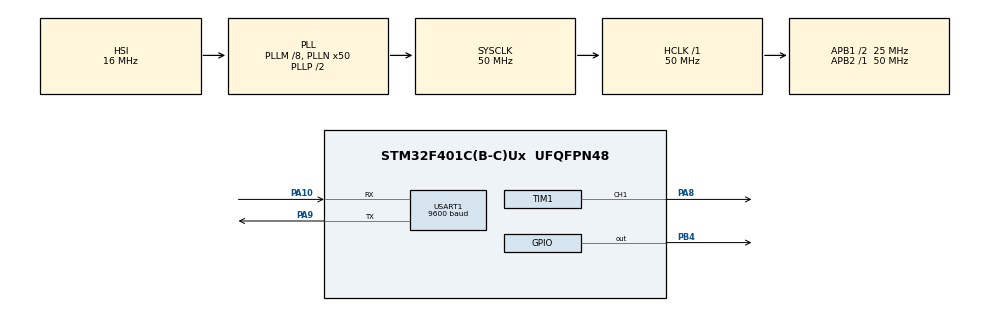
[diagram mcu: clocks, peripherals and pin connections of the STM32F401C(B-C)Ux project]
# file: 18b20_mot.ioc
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Mcu.Family=STM32F4
Mcu.Name=STM32F401C(B-C)Ux
Mcu.Package=UFQFPN48
NVIC.PriorityGroup=NVIC_PRIORITYGROUP_4
PA10.Mode=Asynchronous
PA10.Signal=USART1_RX
PA8.Signal=S_TIM1_CH1
PA9.Mode=Asynchronous
PA9.Signal=USART1_TX
PB4.GPIO_PuPd=GPIO_PULLUP
PB4.Signal=GPIO_Output
ProjectManager.HeapSize=0x200
ProjectManager.StackSize=0x400
ProjectManager.TargetToolchain=STM32CubeIDE
RCC.48MHZClocksFreq_Value=25000000
RCC.AHBFreq_Value=50000000
RCC.APB1CLKDivider=RCC_HCLK_DIV2
RCC.APB1Freq_Value=25000000
RCC.APB1TimFreq_Value=50000000
RCC.APB2Freq_Value=50000000
RCC.APB2TimFreq_Value=50000000
RCC.CortexFreq_Value=50000000
RCC.HCLKFreq_Value=50000000
RCC.HSE_VALUE=25000000
RCC.HSI_VALUE=16000000
RCC.LSE_VALUE=32768
RCC.PLLM=8
RCC.PLLN=50
RCC.SYSCLKFreq_VALUE=50000000
RCC.SYSCLKSource=RCC_SYSCLKSOURCE_PLLCLK
RCC.VCOOutputFreq_Value=100000000
SH.S_TIM1_CH1.0=TIM1_CH1,PWM Generation1 CH1
TIM1.Channel-PWM\ Generation1\ CH1=TIM_CHANNEL_1
TIM1.Period=100-1
TIM1.Prescaler=50-1
TIM11.Period=0xffff-1
TIM11.Prescaler=50-1
USART1.BaudRate=9600
USART1.VirtualMode=VM_ASYNC
VP_TIM11_VS_ClockSourceINT.Mode=Enable_Timer
VP_TIM1_VS_ClockSourceINT.Mode=Internal
board=custom

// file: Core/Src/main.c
/* USER CODE BEGIN Header */
/**
 ******************************************************************************
 * @file           : main.c
 * @brief          : Main program body
 ******************************************************************************
 * @attention
 *
 * Copyright (c) 2024 STMicroelectronics.
 * All rights reserved.
 *
 * This software is licensed under terms that can be found in the LICENSE file
 * in the root directory of this software component.
 * If no LICENSE file comes with this software, it is provided AS-IS.
 *
 ******************************************************************************
 */
/* USER CODE END Header */
#include "main.h"

/* USER CODE BEGIN Includes */
#include <stdio.h>
#include <stdint.h>
#include <string.h>

#include "18b20.h"
/* USER CODE END Includes */

TIM_HandleTypeDef htim1;
TIM_HandleTypeDef htim11;

UART_HandleTypeDef huart1;

void SystemClock_Config(void);
static void MX_GPIO_Init(void);
static void MX_USART1_UART_Init(void);
static void MX_TIM11_Init(void);
static void MX_TIM1_Init(void);

/* USER CODE BEGIN 0 */

// DEBUG UART HELPERS
void send_string(char *s) {
	HAL_UART_Transmit(&huart1, (uint8_t*) s, strlen(s), 1000);
}

void send_uint8(uint8_t num) {
	char buffer[4];
	sprintf(buffer, "%u", num);
	send_string(buffer);
}

void send_int(int num) {
	char buffer[12];
	sprintf(buffer, "%d", num);
	send_string(buffer);
}

void send_float(float num) {
	int whole_part = (int) num; // Część całkowita
	int fractional_part = (int) ((num - whole_part) * 100); // Część ułamkowa do 2 miejsc po przecinku

	if (fractional_part < 0) {
		fractional_part = -fractional_part; // Dla ujemnych wartości
	}

	char buffer[20];
	sprintf(buffer, "%d.%02d", whole_part, fractional_part); // Formatowanie na część całkowitą i ułamkową
	send_string(buffer); // Wywołanie send_string
}

void calcAndSetDutyCycleFromTemp(float temp) {
	TIM1->CCR1 = (20.0*temp) - 400.0;
}

/* USER CODE END 0 */

int main(void)
{

  /* MCU Configuration--------------------------------------------------------*/

  /* Reset of all peripherals, Initializes the Flash interface and the Systick. */
  HAL_Init();

  /* Configure the system clock */
  SystemClock_Config();

  /* Initialize all configured peripherals */
  MX_GPIO_Init();
  MX_USART1_UART_Init();
  MX_TIM11_Init();
  MX_TIM1_Init();
  /* USER CODE BEGIN 2 */

	send_string("hejka!\r\n");

	HAL_TIM_PWM_Start(&htim1, TIM_CHANNEL_1);
	TIM1->CCR1 = 20;
	HAL_GPIO_WritePin(GPIOA, GPIO_PIN_4, 0);

	if (ds18b20_init(&htim11) != HAL_OK) {
		Error_Handler();
	}

	uint8_t ds1[DS18B20_ROM_CODE_SIZE];

	if (ds18b20_read_address(ds1) != HAL_OK) {
		Error_Handler();
	}

  /* USER CODE END 2 */

  /* Infinite loop */
  /* USER CODE BEGIN WHILE */
	while (1) {
		ds18b20_start_measure(NULL);

		HAL_Delay(100);

		float temp = ds18b20_get_temp(NULL);
		if (temp >= 80.0f)
			send_string("Sensor error...\r\n");
		else {
			calcAndSetDutyCycleFromTemp(temp);
			send_string("Temp: ");
			send_float(temp);
			send_string("\r\n");
			send_string("Duty cyle: ");
			send_float(TIM1->CCR1);
			send_string("\r\n");
		}

    /* USER CODE END WHILE */

	}
}

void SystemClock_Config(void)
{
  RCC_OscInitTypeDef RCC_OscInitStruct = {0};
  RCC_ClkInitTypeDef RCC_ClkInitStruct = {0};

  /** Configure the main internal regulator output voltage
  */
  __HAL_RCC_PWR_CLK_ENABLE();
  __HAL_PWR_VOLTAGESCALING_CONFIG(PWR_REGULATOR_VOLTAGE_SCALE2);

  /** Initializes the RCC Oscillators according to the specified parameters
  * in the RCC_OscInitTypeDef structure.
  */
  RCC_OscInitStruct.OscillatorType = RCC_OSCILLATORTYPE_HSI;
  RCC_OscInitStruct.HSIState = RCC_HSI_ON;
  RCC_OscInitStruct.HSICalibrationValue = RCC_HSICALIBRATION_DEFAULT;
  RCC_OscInitStruct.PLL.PLLState = RCC_PLL_ON;
  RCC_OscInitStruct.PLL.PLLSource = RCC_PLLSOURCE_HSI;
  RCC_OscInitStruct.PLL.PLLM = 8;
  RCC_OscInitStruct.PLL.PLLN = 50;
  RCC_OscInitStruct.PLL.PLLP = RCC_PLLP_DIV2;
  RCC_OscInitStruct.PLL.PLLQ = 4;
  if (HAL_RCC_OscConfig(&RCC_OscInitStruct) != HAL_OK)
  {
    Error_Handler();
  }

  /** Initializes the CPU, AHB and APB buses clocks
  */
  RCC_ClkInitStruct.ClockType = RCC_CLOCKTYPE_HCLK|RCC_CLOCKTYPE_SYSCLK
                              |RCC_CLOCKTYPE_PCLK1|RCC_CLOCKTYPE_PCLK2;
  RCC_ClkInitStruct.SYSCLKSource = RCC_SYSCLKSOURCE_PLLCLK;
  RCC_ClkInitStruct.AHBCLKDivider = RCC_SYSCLK_DIV1;
  RCC_ClkInitStruct.APB1CLKDivider = RCC_HCLK_DIV2;
  RCC_ClkInitStruct.APB2CLKDivider = RCC_HCLK_DIV1;

  if (HAL_RCC_ClockConfig(&RCC_ClkInitStruct, FLASH_LATENCY_1) != HAL_OK)
  {
    Error_Handler();
  }
}

static void MX_TIM1_Init(void)
{

  TIM_ClockConfigTypeDef sClockSourceConfig = {0};
  TIM_MasterConfigTypeDef sMasterConfig = {0};
  TIM_OC_InitTypeDef sConfigOC = {0};
  TIM_BreakDeadTimeConfigTypeDef sBreakDeadTimeConfig = {0};

  htim1.Instance = TIM1;
  htim1.Init.Prescaler = 50-1;
  htim1.Init.CounterMode = TIM_COUNTERMODE_UP;
  htim1.Init.Period = 100-1;
  htim1.Init.ClockDivision = TIM_CLOCKDIVISION_DIV1;
  htim1.Init.RepetitionCounter = 0;
  htim1.Init.AutoReloadPreload = TIM_AUTORELOAD_PRELOAD_DISABLE;
  if (HAL_TIM_Base_Init(&htim1) != HAL_OK)
  {
    Error_Handler();
  }
  sClockSourceConfig.ClockSource = TIM_CLOCKSOURCE_INTERNAL;
  if (HAL_TIM_ConfigClockSource(&htim1, &sClockSourceConfig) != HAL_OK)
  {
    Error_Handler();
  }
  if (HAL_TIM_PWM_Init(&htim1) != HAL_OK)
  {
    Error_Handler();
  }
  sMasterConfig.MasterOutputTrigger = TIM_TRGO_RESET;
  sMasterConfig.MasterSlaveMode = TIM_MASTERSLAVEMODE_DISABLE;
  if (HAL_TIMEx_MasterConfigSynchronization(&htim1, &sMasterConfig) != HAL_OK)
  {
    Error_Handler();
  }
  sConfigOC.OCMode = TIM_OCMODE_PWM1;
  sConfigOC.Pulse = 0;
  sConfigOC.OCPolarity = TIM_OCPOLARITY_HIGH;
  sConfigOC.OCNPolarity = TIM_OCNPOLARITY_HIGH;
  sConfigOC.OCFastMode = TIM_OCFAST_DISABLE;
  sConfigOC.OCIdleState = TIM_OCIDLESTATE_RESET;
  sConfigOC.OCNIdleState = TIM_OCNIDLESTATE_RESET;
  if (HAL_TIM_PWM_ConfigChannel(&htim1, &sConfigOC, TIM_CHANNEL_1) != HAL_OK)
  {
    Error_Handler();
  }
  sBreakDeadTimeConfig.OffStateRunMode = TIM_OSSR_DISABLE;
  sBreakDeadTimeConfig.OffStateIDLEMode = TIM_OSSI_DISABLE;
  sBreakDeadTimeConfig.LockLevel = TIM_LOCKLEVEL_OFF;
  sBreakDeadTimeConfig.DeadTime = 0;
  sBreakDeadTimeConfig.BreakState = TIM_BREAK_DISABLE;
  sBreakDeadTimeConfig.BreakPolarity = TIM_BREAKPOLARITY_HIGH;
  sBreakDeadTimeConfig.AutomaticOutput = TIM_AUTOMATICOUTPUT_DISABLE;
  if (HAL_TIMEx_ConfigBreakDeadTime(&htim1, &sBreakDeadTimeConfig) != HAL_OK)
  {
    Error_Handler();
  }
  HAL_TIM_MspPostInit(&htim1);

}

static void MX_TIM11_Init(void)
{

  htim11.Instance = TIM11;
  htim11.Init.Prescaler = 50-1;
  htim11.Init.CounterMode = TIM_COUNTERMODE_UP;
  htim11.Init.Period = 0xffff-1;
  htim11.Init.ClockDivision = TIM_CLOCKDIVISION_DIV1;
  htim11.Init.AutoReloadPreload = TIM_AUTORELOAD_PRELOAD_DISABLE;
  if (HAL_TIM_Base_Init(&htim11) != HAL_OK)
  {
    Error_Handler();
  }

}

static void MX_USART1_UART_Init(void)
{

  huart1.Instance = USART1;
  huart1.Init.BaudRate = 9600;
  huart1.Init.WordLength = UART_WORDLENGTH_8B;
  huart1.Init.StopBits = UART_STOPBITS_1;
  huart1.Init.Parity = UART_PARITY_NONE;
  huart1.Init.Mode = UART_MODE_TX_RX;
  huart1.Init.HwFlowCtl = UART_HWCONTROL_NONE;
  huart1.Init.OverSampling = UART_OVERSAMPLING_16;
  if (HAL_UART_Init(&huart1) != HAL_OK)
  {
    Error_Handler();
  }

}

static void MX_GPIO_Init(void)
{
  GPIO_InitTypeDef GPIO_InitStruct = {0};

  /* GPIO Ports Clock Enable */
  __HAL_RCC_GPIOA_CLK_ENABLE();
  __HAL_RCC_GPIOB_CLK_ENABLE();

  /*Configure GPIO pin Output Level */
  HAL_GPIO_WritePin(GPIOB, GPIO_PIN_4, GPIO_PIN_RESET);

  /*Configure GPIO pin : PB4 */
  GPIO_InitStruct.Pin = GPIO_PIN_4;
  GPIO_InitStruct.Mode = GPIO_MODE_OUTPUT_PP;
  GPIO_InitStruct.Pull = GPIO_PULLUP;
  GPIO_InitStruct.Speed = GPIO_SPEED_FREQ_LOW;
  HAL_GPIO_Init(GPIOB, &GPIO_InitStruct);

}

void Error_Handler(void)
{
  /* USER CODE BEGIN Error_Handler_Debug */
	send_string("error!!");
	/* User can add his own implementation to report the HAL error return state */
	__disable_irq();
	while (1) {
	}
  /* USER CODE END Error_Handler_Debug */
}
